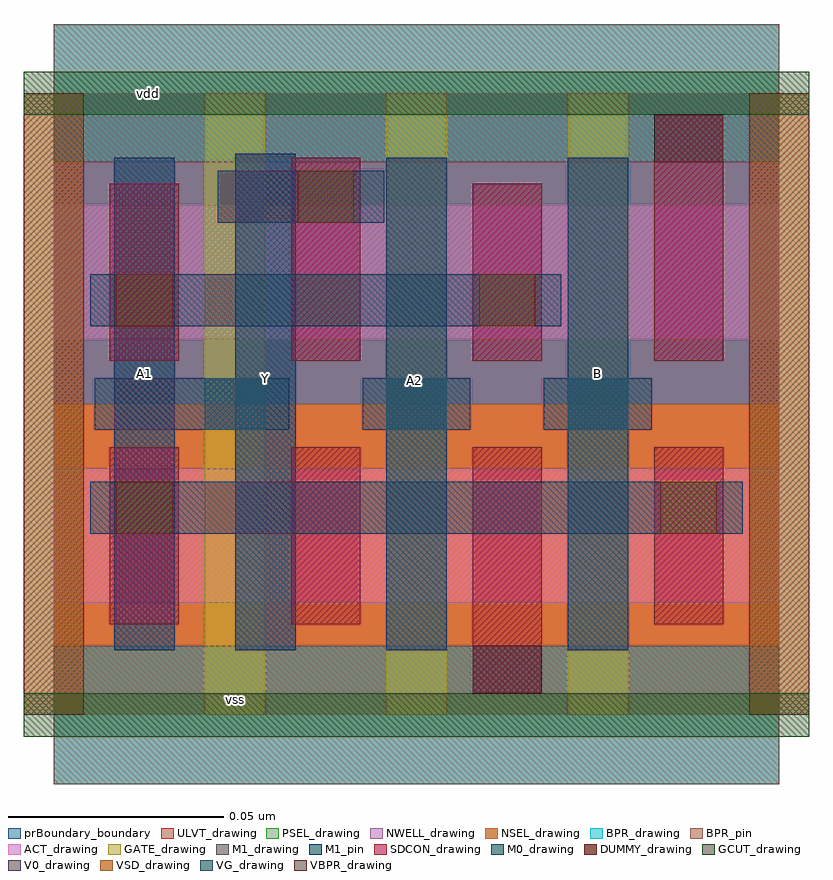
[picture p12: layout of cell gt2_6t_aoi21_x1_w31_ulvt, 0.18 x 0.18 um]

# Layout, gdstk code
import gdstk
lib = gdstk.Library(unit=1e-6, precision=5e-10)
def R(c, l, rs):  # rectangles x0, y0, x1, y1
    for r in rs: c.add(gdstk.rectangle(r[:2], r[2:], *l))
def A(c, l, x, y, w, h, nx, ny, dx, dy):  # array of equal rectangles
    R(c, l, [(x+i*dx, y+j*dy, x+i*dx+w, y+j*dy+h) for i in range(nx) for j in range(ny)])
NWELL_drawing = (1, 0)
ACT_drawing = (2, 0)
GATE_drawing = (3, 0)
DUMMY_drawing = (4, 0)
GCUT_drawing = (5, 0)
NSEL_drawing = (6, 0)
PSEL_drawing = (7, 0)
BPR_drawing = (8, 0)
BPR_pin = (8, 251)
VBPR_drawing = (9, 0)
SDCON_drawing = (10, 0)
VSD_drawing = (11, 0)
VG_drawing = (12, 0)
M0_drawing = (20, 0)
V0_drawing = (22, 0)
M1_drawing = (25, 0)
M1_pin = (25, 251)
ULVT_drawing = (95, 0)
prBoundary_boundary = (235, 250)

gt2_6t_aoi21_x1_w31_ulvt = lib.new_cell('gt2_6t_aoi21_x1_w31_ulvt')
R(gt2_6t_aoi21_x1_w31_ulvt, NWELL_drawing, [(0,0.072,0.168,0.144)])
R(gt2_6t_aoi21_x1_w31_ulvt, ACT_drawing, [(0,0.026,0.168,0.057), (0,0.087,0.168,0.118)])
A(gt2_6t_aoi21_x1_w31_ulvt, GATE_drawing, -0.007, 0, 0.014, 0.144, 5, 1, 0.042, 0)
R(gt2_6t_aoi21_x1_w31_ulvt, DUMMY_drawing, [(-0.007,0,0.007,0.144), (0.161,0,0.175,0.144)])
R(gt2_6t_aoi21_x1_w31_ulvt, GCUT_drawing, [(-0.007,-0.005,0.175,0.005), (-0.007,0.139,0.175,0.149)])
R(gt2_6t_aoi21_x1_w31_ulvt, NSEL_drawing, [(0,0,0.168,0.072)])
R(gt2_6t_aoi21_x1_w31_ulvt, PSEL_drawing, [(0,0.072,0.168,0.144)])
R(gt2_6t_aoi21_x1_w31_ulvt, BPR_drawing, [(0,-0.016,0.168,0.016), (0,0.128,0.168,0.16)])
R(gt2_6t_aoi21_x1_w31_ulvt, BPR_pin, [(0,-0.016,0.168,0.016), (0,0.128,0.168,0.16)])
R(gt2_6t_aoi21_x1_w31_ulvt, VBPR_drawing, [(0.097,0.005,0.113,0.016), (0.139,0.128,0.155,0.139)])
R(gt2_6t_aoi21_x1_w31_ulvt, SDCON_drawing, [(0.097,0.005,0.113,0.062), (0.013,0.021,0.029,0.062), (0.055,0.021,0.071,0.062), (0.139,0.021,0.155,0.062), (0.013,0.082,0.029,0.123), (0.055,0.082,0.071,0.129), (0.097,0.082,0.113,0.123), (0.139,0.082,0.155,0.139)])
R(gt2_6t_aoi21_x1_w31_ulvt, VSD_drawing, [(0.0145,0.042,0.0275,0.054), (0.1405,0.042,0.1535,0.054), (0.0145,0.09,0.0275,0.102), (0.0985,0.09,0.1115,0.102), (0.0565,0.114,0.0695,0.126)])
A(gt2_6t_aoi21_x1_w31_ulvt, VG_drawing, 0.035, 0.066, 0.014, 0.012, 3, 1, 0.042, 0)
R(gt2_6t_aoi21_x1_w31_ulvt, M0_drawing, [(0.0085,0.042,0.1595,0.054), (0.0095,0.066,0.0545,0.078), (0.0715,0.066,0.0965,0.078), (0.1135,0.066,0.1385,0.078), (0.0085,0.09,0.1175,0.102), (0.038,0.114,0.0765,0.126)])
R(gt2_6t_aoi21_x1_w31_ulvt, V0_drawing, [(0.042,0.042,0.056,0.054), (0.014,0.066,0.028,0.078), (0.077,0.066,0.091,0.078), (0.119,0.066,0.133,0.078), (0.042,0.114,0.056,0.126)])
R(gt2_6t_aoi21_x1_w31_ulvt, M1_drawing, [(0.014,0.015,0.028,0.129), (0.042,0.015,0.056,0.13), (0.077,0.015,0.091,0.129), (0.119,0.015,0.133,0.129)])
R(gt2_6t_aoi21_x1_w31_ulvt, M1_pin, [(0.014,0.015,0.028,0.129), (0.042,0.015,0.056,0.13), (0.077,0.015,0.091,0.129), (0.119,0.015,0.133,0.129)])
R(gt2_6t_aoi21_x1_w31_ulvt, ULVT_drawing, [(0,0,0.168,0.144)])
R(gt2_6t_aoi21_x1_w31_ulvt, prBoundary_boundary, [(0,0,0.168,0.144)])
gt2_6t_aoi21_x1_w31_ulvt.add(gdstk.Label('vdd', (0.022,0.144), layer=8, texttype=251))
gt2_6t_aoi21_x1_w31_ulvt.add(gdstk.Label('vss', (0.042,0.0035), layer=8, texttype=251))
gt2_6t_aoi21_x1_w31_ulvt.add(gdstk.Label('Y', (0.049,0.078), layer=25, texttype=251))
gt2_6t_aoi21_x1_w31_ulvt.add(gdstk.Label('B', (0.126,0.079), layer=25, texttype=251))
gt2_6t_aoi21_x1_w31_ulvt.add(gdstk.Label('A2', (0.0835,0.0775), layer=25, texttype=251))
gt2_6t_aoi21_x1_w31_ulvt.add(gdstk.Label('A1', (0.021,0.079), layer=25, texttype=251))

lib.write_gds('gt2_6t_aoi21_x1_w31_ulvt.gds')
